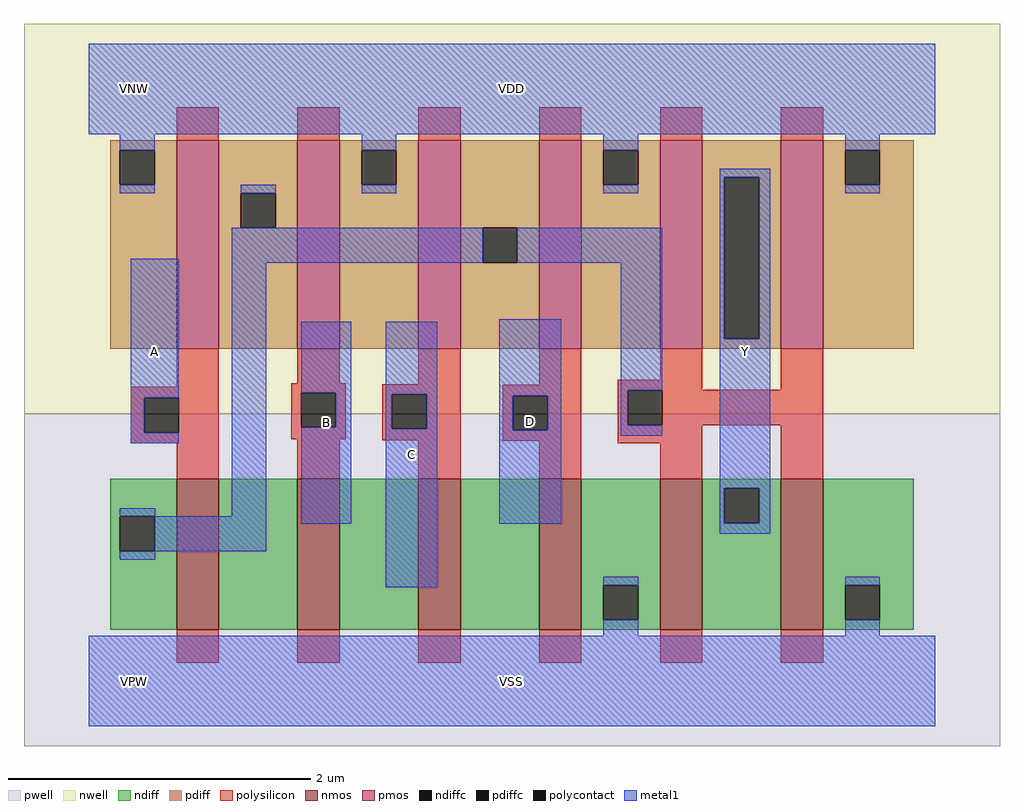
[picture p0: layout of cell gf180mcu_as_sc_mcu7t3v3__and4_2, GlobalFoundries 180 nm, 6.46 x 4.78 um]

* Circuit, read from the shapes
.subckt gf180mcu_as_sc_mcu7t3v3__and4_2 VDD VNW VPW VSS A C B D Y
XM1 n1 A n2 VPW nfet_03v3 w=1u l=0.28u
XM2 n3 B n1 VPW nfet_03v3 w=1u l=0.28u
XM3 n4 C n3 VPW nfet_03v3 w=1u l=0.28u
XM4 VSS D n4 VPW nfet_03v3 w=1u l=0.28u
XM5 Y n2 VSS VPW nfet_03v3 w=1u l=0.28u m=2
XM6 n2 A VDD VNW pfet_03v3 w=1.38u l=0.28u
XM7 VDD B n2 VNW pfet_03v3 w=1.38u l=0.28u
XM8 n2 C VDD VNW pfet_03v3 w=1.38u l=0.28u
XM9 VDD D n2 VNW pfet_03v3 w=1.38u l=0.28u
XM10 Y n2 VDD VNW pfet_03v3 w=1.38u l=0.28u m=2
.ends

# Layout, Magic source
magic
tech gf180mcuD
magscale 1 10
<< nwell >>
rect -86 354 1206 870
<< pwell >>
rect -86 -86 1206 354
<< nmos >>
rect 116 68 172 268
rect 276 68 332 268
rect 436 68 492 268
rect 596 68 652 268
rect 756 68 812 268
rect 916 68 972 268
<< pmos >>
rect 116 440 172 716
rect 276 440 332 716
rect 436 440 492 716
rect 596 440 652 716
rect 756 440 812 716
rect 916 440 972 716
<< ndiff >>
rect 28 218 116 268
rect 28 172 41 218
rect 87 172 116 218
rect 28 68 116 172
rect 172 68 276 268
rect 332 68 436 268
rect 492 68 596 268
rect 652 127 756 268
rect 652 81 681 127
rect 727 81 756 127
rect 652 68 756 81
rect 812 255 916 268
rect 812 209 841 255
rect 887 209 916 255
rect 812 68 916 209
rect 972 127 1092 268
rect 972 81 1001 127
rect 1047 81 1092 127
rect 972 68 1092 81
<< pdiff >>
rect 28 703 116 716
rect 28 657 41 703
rect 87 657 116 703
rect 28 440 116 657
rect 172 646 276 716
rect 172 600 201 646
rect 247 600 276 646
rect 172 440 276 600
rect 332 703 436 716
rect 332 657 361 703
rect 407 657 436 703
rect 332 440 436 657
rect 492 600 596 716
rect 492 554 521 600
rect 567 554 596 600
rect 492 440 596 554
rect 652 703 756 716
rect 652 657 681 703
rect 727 657 756 703
rect 652 440 756 657
rect 812 667 916 716
rect 812 453 841 667
rect 887 453 916 667
rect 812 440 916 453
rect 972 703 1092 716
rect 972 657 1001 703
rect 1047 657 1092 703
rect 972 440 1092 657
<< ndiffc >>
rect 41 172 87 218
rect 681 81 727 127
rect 841 209 887 255
rect 1001 81 1047 127
<< pdiffc >>
rect 41 657 87 703
rect 201 600 247 646
rect 361 657 407 703
rect 521 554 567 600
rect 681 657 727 703
rect 841 453 887 667
rect 1001 657 1047 703
<< polysilicon >>
rect 116 716 172 760
rect 276 716 332 760
rect 436 716 492 760
rect 596 716 652 760
rect 756 716 812 760
rect 916 716 972 760
rect 116 390 172 440
rect 276 394 332 440
rect 55 375 172 390
rect 55 329 73 375
rect 119 329 172 375
rect 55 315 172 329
rect 268 382 340 394
rect 436 393 492 440
rect 268 336 281 382
rect 327 336 340 382
rect 268 320 340 336
rect 388 380 492 393
rect 596 392 652 440
rect 756 399 812 440
rect 388 334 401 380
rect 447 334 492 380
rect 116 268 172 315
rect 276 268 332 320
rect 388 319 492 334
rect 436 268 492 319
rect 548 378 652 392
rect 548 332 561 378
rect 607 332 652 378
rect 548 318 652 332
rect 596 268 652 318
rect 700 386 812 399
rect 916 386 972 440
rect 700 385 972 386
rect 700 339 713 385
rect 759 339 972 385
rect 700 315 812 339
rect 756 268 812 315
rect 916 268 972 339
rect 116 24 172 68
rect 276 24 332 68
rect 436 24 492 68
rect 596 24 652 68
rect 756 24 812 68
rect 916 24 972 68
<< polycontact >>
rect 73 329 119 375
rect 281 336 327 382
rect 401 334 447 380
rect 561 332 607 378
rect 713 339 759 385
<< metal1 >>
rect 0 724 1120 844
rect 41 703 87 724
rect 361 703 407 724
rect 41 646 87 657
rect 201 646 247 657
rect 361 646 407 657
rect 681 703 727 724
rect 1001 703 1047 724
rect 681 646 727 657
rect 835 667 902 678
rect 55 375 119 559
rect 55 329 73 375
rect 55 315 119 329
rect 189 554 521 600
rect 567 554 759 600
rect 41 218 88 229
rect 189 218 235 554
rect 87 172 235 218
rect 281 382 347 476
rect 327 336 347 382
rect 281 208 347 336
rect 393 380 461 476
rect 393 334 401 380
rect 447 334 461 380
rect 41 161 88 172
rect 393 124 461 334
rect 543 378 625 479
rect 543 332 561 378
rect 607 332 625 378
rect 543 208 625 332
rect 704 385 759 554
rect 704 339 713 385
rect 704 325 759 339
rect 835 453 841 667
rect 887 453 902 667
rect 1001 646 1047 657
rect 835 255 902 453
rect 835 209 841 255
rect 887 209 902 255
rect 835 195 902 209
rect 681 127 727 138
rect 681 60 727 81
rect 1001 127 1047 138
rect 1001 60 1047 81
rect 0 -60 1120 60
<< labels >>
flabel metal1 s 0 724 1120 844 0 FreeSans 400 0 0 0 VDD
port 1 nsew power bidirectional abutment
flabel metal1 s 0 -60 1120 60 0 FreeSans 400 0 0 0 VSS
port 4 nsew ground bidirectional abutment
flabel nwell s 10 734 110 834 0 FreeSans 400 0 0 0 VNW
port 2 nsew power bidirectional
flabel pwell s 10 -50 110 50 0 FreeSans 400 0 0 0 VPW
port 3 nsew ground bidirectional
flabel metal1 s 55 315 119 559 0 FreeSans 200 0 0 0 A
port 5 nsew signal input
flabel metal1 s 393 124 461 476 0 FreeSans 200 0 0 0 C
port 6 nsew signal input
flabel metal1 s 281 208 347 476 0 FreeSans 200 0 0 0 B
port 7 nsew signal input
flabel metal1 s 543 208 625 479 0 FreeSans 200 0 0 0 D
port 8 nsew signal input
flabel metal1 s 835 195 902 678 0 FreeSans 200 0 0 0 Y
port 9 nsew signal output
<< properties >>
string FIXED_BBOX 0 0 1120 784
string LEFclass CORE
string LEFsite unithd
string LEFsymmetry X Y
string MASKHINTS_NPLUS -16 -46 1136 354
string MASKHINTS_PPLUS -16 354 1136 830
<< end >>
